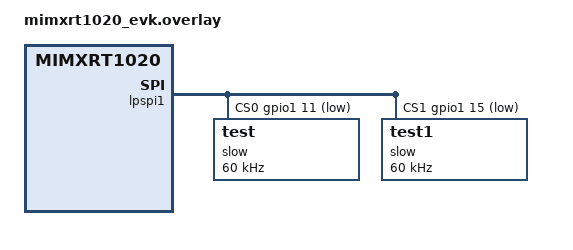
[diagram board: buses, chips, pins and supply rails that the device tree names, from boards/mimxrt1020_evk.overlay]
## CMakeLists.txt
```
# SPDX-License-Identifier: Apache-2.0

cmake_minimum_required(VERSION 3.20.0)

find_package(Zephyr REQUIRED HINTS $ENV{ZEPHYR_BASE})
project(tmc5130_test)


target_sources(app PRIVATE src/main.c PRIVATE src/spi_com.c PRIVATE src/tmc51xx.c)
```

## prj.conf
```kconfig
CONFIG_BOOT_BANNER=y
CONFIG_SPI=y
CONFIG_SPI_ASYNC=y
```

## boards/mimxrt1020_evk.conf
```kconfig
#
# Copyright (c) 2021, NXP
#
# SPDX-License-Identifier: Apache-2.0
#
#CONFIG_SPI_MCUX_LPSPI_DMA=y
#CONFIG_SPI_ASYNC=y
```

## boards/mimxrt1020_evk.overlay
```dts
/*
 * Copyright (c) 2022 Kumar Gala <galak@kernel.org>
 *
 * SPDX-License-Identifier: Apache-2.0
 */

&lpspi1 {
	
	cs-gpios= <&gpio1 11 GPIO_ACTIVE_LOW>,<&gpio1 15 GPIO_ACTIVE_LOW>;
	slow@0 {
		compatible = "test";
		reg = <0>;
		spi-max-frequency = <60000>;
	};
	slow@1 {
		compatible = "test1";
		reg = <1>;
		spi-max-frequency = <60000>;
	};
};
```

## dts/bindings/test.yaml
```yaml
#
# Copyright (c) 2022 Kumar Gala <galak@kernel.org>
#
# SPDX-License-Identifier: Apache-2.0
#

description: |
    This binding provides resources required to build and run the
    tests/drivers/spi/spi_loopback test in Zephyr.

compatible: "test"

include: ["spi-device.yaml"]
```

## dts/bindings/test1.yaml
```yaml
#
# Copyright (c) 2022 Kumar Gala <galak@kernel.org>
#
# SPDX-License-Identifier: Apache-2.0
#

description: |
    This binding provides resources required to build and run the
    tests/drivers/spi/spi_loopback test in Zephyr.

compatible: "test1"

include: ["spi-device.yaml"]
```

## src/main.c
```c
#include "main.h"

uint8_t ret;

uint8_t rx_test[BUF_SIZE]={0,0,0,0,0};

uint8_t rx_test1[BUF_SIZE]={0,0,0,0,0};

void main(void)
{


    printk("Hi \n");
   
   init_tmc(&spi_com);

   read_register(&spi_com,0x6C,rx_test);

   init_tmc(&spi_com1);

   read_register(&spi_com1,0x6C,rx_test1);

   for (uint8_t i = 0; i < 5; i++)
   {
    printk("print received symbols on spi %x \n",rx_test[i]); 
    printk("print received symbols on spi1 %x \n",rx_test1[i]);
   }
   
//------------ Init Done --------------------
    write_register(&spi_com1,0x24,0x000003E8);
   k_msleep(SLEEP_TIME);

   write_register(&spi_com1,0x25,0x000186A0);
   k_msleep(SLEEP_TIME);
   
   write_register(&spi_com1,0x26,0x0000C350);
   k_msleep(SLEEP_TIME);

   write_register(&spi_com1,0x27,0x000186A0);
   k_msleep(SLEEP_TIME);

   write_register(&spi_com1,0x2A,0x00000578);
   k_msleep(SLEEP_TIME);

   write_register(&spi_com1,0x2B,0x0000000A);
   k_msleep(SLEEP_TIME);

   write_register(&spi_com1,0x20,0x00000000);
   k_msleep(SLEEP_TIME);
   
   write_register(&spi_com1,0x21,0x00000000);
   k_msleep(SLEEP_TIME);

   write_register(&spi_com1,0x2D,0x00000000);
   k_msleep(SLEEP_TIME);

   write_register(&spi_com1,0x2D,0x0007D000);
   k_msleep(SLEEP_TIME);
 

}
```

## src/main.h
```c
#include <zephyr/kernel.h>
#include <zephyr/sys/printk.h>
#include <zephyr/drivers/spi.h>
#include <zephyr/drivers/gpio.h>
#include <zephyr/sys/byteorder.h>

#include "spi_com.h"
#include "tmc51xx.h"


#define SLEEP_TIME 10

/*Configure SPI*/
#define SPI_DEV DT_COMPAT_GET_ANY_STATUS_OKAY(test)
#define SPI_DEV1 DT_COMPAT_GET_ANY_STATUS_OKAY(test1)
#define SPI_OP SPI_OP_MODE_MASTER |  SPI_MODE_CPHA | SPI_MODE_CPOL | SPI_WORD_SET(8) | SPI_TRANSFER_MSB

struct spi_dt_spec spi_com = SPI_DT_SPEC_GET(SPI_DEV, SPI_OP, 0);
struct spi_dt_spec spi_com1 = SPI_DT_SPEC_GET(SPI_DEV1, SPI_OP, 0);

/*Test Buffer*/
#define BUF_SIZE 5
```

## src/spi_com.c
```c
#include "spi_com.h"


uint8_t write_register(struct spi_dt_spec *spi,uint8_t reg, uint32_t value)
{
    int ret = 0;

    //Bit shift the value and register so the register is the first 8 bit
    uint8_t buffer_tx[5] = {WRITE_OFFSET | reg, value >> 24, value >> 16, value >> 8, value};
//    uint8_t buffer_tx[5] = {value , value >> 8, value >> 16, value >> 24, WRITE_OFFSET | reg};
    
    //Data structure for SPI
    const struct spi_buf spi_buf_tx = {
    .buf = buffer_tx,
    .len = ARRAY_SIZE(buffer_tx),
	};
	struct spi_buf_set tx = {
		.buffers = &spi_buf_tx,
		.count = 1,
	};

    ret = spi_transceive_dt(spi,&tx,NULL); //No need to receive, only write


     for (uint8_t i = 0; i < 5; i++)
    {
        printk("tx value on pos %u is %x \n", i, buffer_tx[i]);
    }
    
    printk("------------------ \n");

 
    return ret; //Returns 1 if it failed

}

uint8_t read_register(struct spi_dt_spec *spi,uint8_t reg, uint8_t *data)
{
   
    int ret = 0;

    //Only the address is needed
    uint8_t buffer_tx[5] = {reg,0,0,0,0};
    //uint8_t buffer_tx[5] = {0,0,0,0,reg};
    //Data structure for SPI
    const struct spi_buf spi_buf_tx = {
    .buf = buffer_tx,
    .len = ARRAY_SIZE(buffer_tx),
	};
	struct spi_buf_set tx = {
		.buffers = &spi_buf_tx,
		.count = 1,
	};

    const struct spi_buf spi_buf_rx = {
    .buf = data,
    .len = ARRAY_SIZE(buffer_tx),
	};
	struct spi_buf_set rx = {
		.buffers = &spi_buf_rx,
		.count = 1,
	};

    
    ret = spi_transceive_dt(spi,&tx,&rx);


    ret = spi_transceive_dt(spi,&tx,&rx); //Do it twice to remove old reading
    
/*     {
        printk("tx value on pos %u is %x \n", i, buffer_tx[i]);

    }
        for (uint8_t i = 0; i < 5; i++)
    {
        printk("rx value on pos %u is %x \n", i, data[i]);
        
    } */
    return ret; //Returns 1 if it failed

}
```

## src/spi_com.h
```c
#include <zephyr/kernel.h>
#include <zephyr/sys/printk.h>
#include <zephyr/drivers/spi.h>
#include <zephyr/drivers/gpio.h>

#define WRITE_OFFSET 0x80

uint8_t write_register(struct spi_dt_spec *spi,uint8_t reg, uint32_t value);
uint8_t read_register(struct spi_dt_spec *spi,uint8_t reg, uint8_t *data);
```

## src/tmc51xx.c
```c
#include "tmc51xx.h"

//https://blog.trinamic.com/2017/04/05/how-to-use-tmc5130-eval-with-your-arduino-mega/
uint8_t init_tmc(struct spi_dt_spec *spi)
{
   write_register(spi,0x00,0x00000000); //GCONF
   k_msleep(SLEEP_TIME);

   write_register(spi,0x6C,0x000101D5); //CHOPCONF: TOFF=5, HSTRT=5, HEND=3, TBL=2, CHM=0 (spreadcycle)
   k_msleep(SLEEP_TIME);

   write_register(spi,0x10,0x00070603); //IHOLD_IRUN: IHOLD=3, IRUN=10 (max.current), IHOLDDELAY=6
   k_msleep(SLEEP_TIME);

   write_register(spi,0x11,0x0000000A); //TPOWERDOWN=10
   k_msleep(SLEEP_TIME);

   write_register(spi,0x70,0x00000000); //PWMCONF
   k_msleep(SLEEP_TIME);

    return 1;
    //sendData(0xF0,0x000401C8); //PWM_CONF: AUTO=1, 2/1024 Fclk, Switch amp limit=200, grad=1
}
```

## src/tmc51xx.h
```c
#include <zephyr/kernel.h>
#include <zephyr/sys/printk.h>
#include <zephyr/drivers/spi.h>
#include <zephyr/drivers/gpio.h>

#include "spi_com.h"


 #define SLEEP_TIME 10

uint8_t init_tmc(struct spi_dt_spec *spi);

uint8_t set_speeds(struct spi_dt_spec *spi);
```
